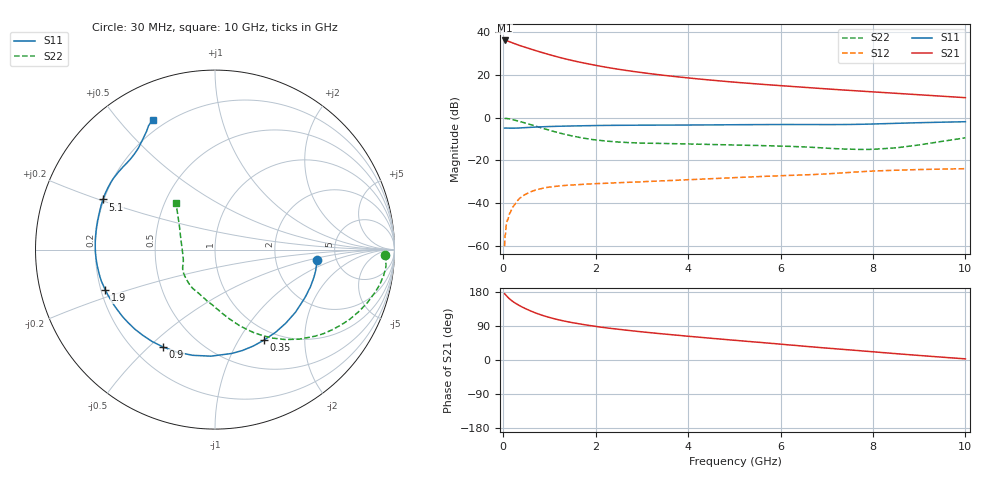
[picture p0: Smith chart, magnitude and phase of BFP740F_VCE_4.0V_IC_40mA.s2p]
! Infineon Technologies  Discrete & RF Semiconductors
! BFP740F
! VCE =  4.0 V,  IC =  40 mA
! Common Emitter S-Parameters:  Oct 2012
# GHz  S  MA  R  50
!  f  S11  S21  S12  S22
! GHz  MAG  ANG  MAG  ANG  MAG  ANG  MAG  ANG
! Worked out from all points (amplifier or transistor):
!   99 points, 30 MHz to 10 GHz, reference 50 ohm
!   highest |S21| = 36.0 dB at 30 MHz (marker M1)
!   |S21| within 3 dB of that: start of sweep to 448.4 MHz
!   unconditionally stable (mu >= 1): 4.871 GHz to end of sweep
!   at 350 MHz: K = 0.26, MSG = 35.7 dB, |S12| = -37.7 dB
!   at 3.5 GHz: K = 0.85, MSG = 24.6 dB, |S12| = -29.5 dB
!   at 10 GHz: K = 1.14, MAG = 14.3 dB, |S12| = -23.8 dB
!   S11 on the Smith chart (normalised r, x): 30 MHz: 3.54, -0.61; 350 MHz: 0.86, -1.29; 900 MHz: 0.32, -0.56; 1.9 GHz: 0.22, -0.17; 5.1 GHz: 0.20, +0.21; 10 GHz: 0.15, +0.62
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0.03  0.57 -5.9  63.3 175.0  0.001 57.1  0.9502 -1.7
0.07  0.5726 -13.9  62.62 169.6  0.0034 80.5  0.9566 -6.6
0.1  0.5705 -19.7  61.13 165.6  0.0041 70.8  0.9453 -9.9
0.15  0.5675 -29.1  58.37 159.9  0.006 72.7  0.9225 -15.0
0.2  0.5682 -37.8  55.59 155.1  0.008 71.1  0.8975 -19.5
0.25  0.5689 -46.1  53.13 150.9  0.0094 67.5  0.8705 -23.6
0.35  0.5735 -61.4  48.53 143.7  0.013 63.8  0.8166 -31.1
0.45  0.5826 -74.8  44.76 137.4  0.0155 59.1  0.7636 -37.9
0.6  0.5942 -92.2  39.77 129.1  0.0187 52.4  0.6837 -46.9
0.7  0.6019 -101.9  36.78 124.2  0.0204 49.1  0.6348 -52.1
0.9  0.6149 -118.0  31.69 115.8  0.0231 43.5  0.5459 -61.2
1  0.6206 -124.5  29.5 112.3  0.0239 41.4  0.5082 -65.2
1.2  0.6293 -135.4  25.76 106.0  0.0253 38.0  0.4436 -72.3
1.4  0.6363 -144.1  22.75 100.8  0.0265 35.6  0.3932 -78.4
1.7  0.6448 -154.3  19.26 94.3  0.0276 33.6  0.3373 -86.7
1.9  0.651 -159.8  17.44 90.5  0.0284 32.6  0.3114 -92.0
2.6  0.6631 -173.8  12.94 79.6  0.0306 31.9  0.2657 -107.5
3.4  0.6691 174.8  9.945 69.5  0.0334 32.5  0.2505 -118.8
5.1  0.6842 155.9  6.599 51.1  0.0402 33.8  0.2283 -135.0
6.7  0.6893 139.8  4.935 34.5  0.0469 34.0  0.2025 -152.6
8.5  0.7362 123.0  3.695 16.7  0.0593 29.4  0.197 164.2
10  0.8031 115.6  2.923 3.0  0.0644 23.1  0.3375 130.1
